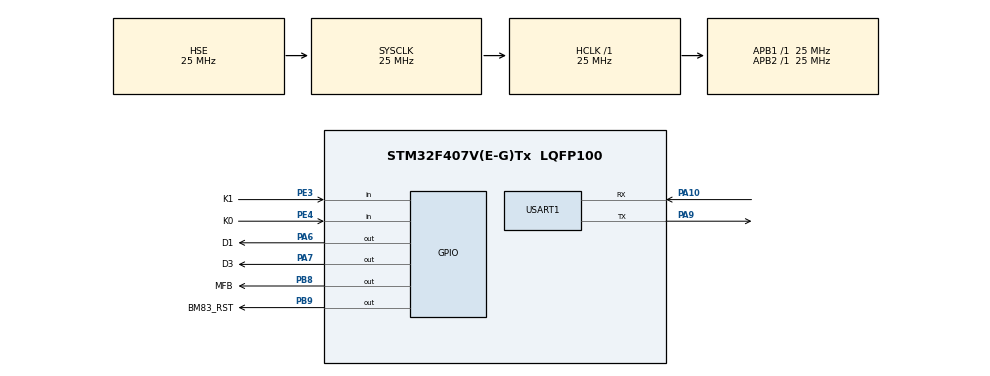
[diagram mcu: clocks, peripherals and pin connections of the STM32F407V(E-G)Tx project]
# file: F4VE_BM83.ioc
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Mcu.Family=STM32F4
Mcu.Name=STM32F407V(E-G)Tx
Mcu.Package=LQFP100
NVIC.PriorityGroup=NVIC_PRIORITYGROUP_4
NVIC.USART1_IRQn=true\:0\:0\:false\:false\:true\:true\:true\:true
PA10.Mode=Asynchronous
PA10.Signal=USART1_RX
PA13.Mode=JTAG_5_pins
PA13.Signal=SYS_JTMS-SWDIO
PA14.Mode=JTAG_5_pins
PA14.Signal=SYS_JTCK-SWCLK
PA15.Mode=JTAG_5_pins
PA15.Signal=SYS_JTDI
PA6.GPIO_Label=D1
PA6.Signal=GPIO_Output
PA7.GPIO_Label=D3
PA7.Signal=GPIO_Output
PA9.Mode=Asynchronous
PA9.Signal=USART1_TX
PB3.Mode=JTAG_5_pins
PB3.Signal=SYS_JTDO-SWO
PB4.Mode=JTAG_5_pins
PB4.Signal=SYS_JTRST
PB8.GPIO_Label=MFB
PB8.Signal=GPIO_Output
PB9.GPIO_Label=BM83_RST
PB9.Signal=GPIO_Output
PC14-OSC32_IN.Mode=LSE-External-Oscillator
PC14-OSC32_IN.Signal=RCC_OSC32_IN
PC15-OSC32_OUT.Mode=LSE-External-Oscillator
PC15-OSC32_OUT.Signal=RCC_OSC32_OUT
PE3.GPIO_Label=K1
PE3.Signal=GPIO_Input
PE4.GPIO_Label=K0
PE4.Signal=GPIO_Input
PH0-OSC_IN.Mode=HSE-External-Oscillator
PH0-OSC_IN.Signal=RCC_OSC_IN
PH1-OSC_OUT.Mode=HSE-External-Oscillator
PH1-OSC_OUT.Signal=RCC_OSC_OUT
ProjectManager.HeapSize=0x200
ProjectManager.StackSize=0x400
ProjectManager.TargetToolchain=Makefile
RCC.48MHZClocksFreq_Value=75000000
RCC.AHBFreq_Value=25000000
RCC.APB1Freq_Value=25000000
RCC.APB1TimFreq_Value=25000000
RCC.APB2Freq_Value=25000000
RCC.APB2TimFreq_Value=25000000
RCC.CortexFreq_Value=25000000
RCC.HCLKFreq_Value=25000000
RCC.HSE_VALUE=25000000
RCC.HSI_VALUE=16000000
RCC.PLLSourceVirtual=RCC_PLLSOURCE_HSE
RCC.SYSCLKFreq_VALUE=25000000
RCC.SYSCLKSource=RCC_SYSCLKSOURCE_HSE
RCC.VCOOutputFreq_Value=300000000
USART1.VirtualMode=VM_ASYNC
board=custom

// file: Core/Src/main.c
/* USER CODE BEGIN Header */
/**
  ******************************************************************************
  * @file           : main.c
  * @brief          : Main program body
  ******************************************************************************
  * @attention
  *
  * Copyright (c) 2024 STMicroelectronics.
  * All rights reserved.
  *
  * This software is licensed under terms that can be found in the LICENSE file
  * in the root directory of this software component.
  * If no LICENSE file comes with this software, it is provided AS-IS.
  *
  ******************************************************************************
  */
/* USER CODE END Header */
#include "main.h"
#include "usart.h"
#include "gpio.h"
#include "bm832.h"
#include <string.h>

void SystemClock_Config(void);

/* USER CODE BEGIN 0 */
static err_t BM83_event_handler ( BM83_t *dev );
static BM83_t BM83;
static log_t logger;

void application_init ( void )
{

    /**
     * Logger initialization.
     * Default baud rate: 115200
     * Default log level: LOG_LEVEL_DEBUG
     * @note If USB_UART_RX and USB_UART_TX
     * are defined as HAL_PIN_NC, you will
     * need to define them manually for log to work.
     * See @b LOG_MAP_USB_UART macro definition for detailed explanation.
     */

    // Click initialization.
    BM83_Initialise( &BM83 );

     if ( BM83_OK != BM83_set_device_name ( &BM83, DEVICE_NAME ) ){

     }

}

void application_task ( void )
{
    if ( BM83_OK == BM83_read_event ( &BM83 ) )
    {
        BM83_event_handler ( &BM83 );
    }
}
/* USER CODE END 0 */

int main(void)
{

  /* USER CODE BEGIN 1 */
  application_init( );

    for ( ; ; )
    {
        application_task( );
    }

    return 0;
  /* USER CODE END 1 */

  /* MCU Configuration--------------------------------------------------------*/

  /* Reset of all peripherals, Initializes the Flash interface and the Systick. */
  HAL_Init();

  /* Configure the system clock */
  SystemClock_Config();

  /* Initialize all configured peripherals */
  MX_GPIO_Init();
  MX_USART1_UART_Init();

  /* Infinite loop */
  while (1)
  {

  }
}

void SystemClock_Config(void)
{
  RCC_OscInitTypeDef RCC_OscInitStruct = {0};
  RCC_ClkInitTypeDef RCC_ClkInitStruct = {0};

  /** Configure the main internal regulator output voltage
  */
  __HAL_RCC_PWR_CLK_ENABLE();
  __HAL_PWR_VOLTAGESCALING_CONFIG(PWR_REGULATOR_VOLTAGE_SCALE1);

  /** Initializes the RCC Oscillators according to the specified parameters
  * in the RCC_OscInitTypeDef structure.
  */
  RCC_OscInitStruct.OscillatorType = RCC_OSCILLATORTYPE_HSE;
  RCC_OscInitStruct.HSEState = RCC_HSE_ON;
  RCC_OscInitStruct.PLL.PLLState = RCC_PLL_NONE;
  if (HAL_RCC_OscConfig(&RCC_OscInitStruct) != HAL_OK)
  {
    Error_Handler();
  }

  /** Initializes the CPU, AHB and APB buses clocks
  */
  RCC_ClkInitStruct.ClockType = RCC_CLOCKTYPE_HCLK|RCC_CLOCKTYPE_SYSCLK
                              |RCC_CLOCKTYPE_PCLK1|RCC_CLOCKTYPE_PCLK2;
  RCC_ClkInitStruct.SYSCLKSource = RCC_SYSCLKSOURCE_HSE;
  RCC_ClkInitStruct.AHBCLKDivider = RCC_SYSCLK_DIV1;
  RCC_ClkInitStruct.APB1CLKDivider = RCC_HCLK_DIV1;
  RCC_ClkInitStruct.APB2CLKDivider = RCC_HCLK_DIV1;

  if (HAL_RCC_ClockConfig(&RCC_ClkInitStruct, FLASH_LATENCY_0) != HAL_OK)
  {
    Error_Handler();
  }
}

/* USER CODE BEGIN 4 */
static err_t BM83_event_handler ( BM83_t *dev )
{
    err_t error_flag = BM83_OK;
    static BM83_eq_mode_t eq_mode = BM83_EQ_MODE_OFF;
    switch ( dev->event_packet.opcode )
    {
        case BM83_EVT_REPORT_SPP_DATA:
        {
            if ( 0 == dev->event_packet.param_buf[ 1 ] ) // single packet
            {
                uint16_t payload_len = ( ( uint16_t ) dev->event_packet.param_buf[ 4 ] << 8 ) |
                                                      dev->event_packet.param_buf[ 5 ];
                if ( strstr ( &dev->event_packet.param_buf[ 6 ], COMMAND_PLAY ) )
                {
                    error_flag |= BM83_music_control ( &BM83, BM83_PLAY );

                }
                else if ( strstr ( &dev->event_packet.param_buf[ 6 ], COMMAND_PAUSE ) )
                {
                    error_flag |= BM83_music_control ( &BM83, BM83_PAUSE );

                }
                else if ( strstr ( &dev->event_packet.param_buf[ 6 ], COMMAND_STOP ) )
                {
                    error_flag |= BM83_music_control ( &BM83, BM83_STOP );

                }
                else if ( strstr ( &dev->event_packet.param_buf[ 6 ], COMMAND_NEXT ) )
                {
                    error_flag |= BM83_music_control ( &BM83, BM83_NEXT_SONG );

                }
                else if ( strstr ( &dev->event_packet.param_buf[ 6 ], COMMAND_PREVIOUS ) )
                {
                    error_flag |= BM83_music_control ( &BM83, BM83_PREVIOUS_SONG );

                }
                else if ( strstr ( &dev->event_packet.param_buf[ 6 ], COMMAND_VOLUME_UP ) )
                {
                    error_flag |= BM83_volume_up ( &BM83, 0, BM83_VOLUME_MASK_A2DP );

                }
                else if ( strstr ( &dev->event_packet.param_buf[ 6 ], COMMAND_VOLUME_DOWN ) )
                {
                    error_flag |= BM83_volume_down ( &BM83, 0, BM83_VOLUME_MASK_A2DP );

                }
                else if ( strstr ( &dev->event_packet.param_buf[ 6 ], COMMAND_UNMUTE ) )
                {
                    BM83_soft_unmute_output ( &BM83 );

                }
                else if ( strstr ( &dev->event_packet.param_buf[ 6 ], COMMAND_MUTE ) )
                {
                    BM83_soft_mute_output ( &BM83 );

                }
                else if ( strstr ( &dev->event_packet.param_buf[ 6 ], COMMAND_CALL ) )
                {
                    uint8_t phone_number[ 19 ] = { 0 };
                    memcpy ( phone_number, strstr ( &dev->event_packet.param_buf[ 6 ], COMMAND_CALL ) + 5, payload_len - 7 );
                    error_flag |= BM83_make_call ( &BM83, 0x00, phone_number );

                }
                else if ( strstr ( &dev->event_packet.param_buf[ 6 ], COMMAND_VOICE ) )
                {
                    error_flag |= BM83_send_mmi_action ( dev, 0, BM83_MMI_VOICE_DIAL );

                }
                else if ( strstr ( &dev->event_packet.param_buf[ 6 ], COMMAND_MODE_UP ) )
                {
                    if ( BM83_EQ_MODE_USER1 == eq_mode )
                    {
                        eq_mode = BM83_EQ_MODE_OFF;
                    }
                    else
                    {
                        eq_mode++;
                    }
                    BM83_set_eq_mode ( &BM83, eq_mode );

                    switch ( eq_mode )
                    {
                        case BM83_EQ_MODE_OFF:
                        {

                            break;
                        }
                        case BM83_EQ_MODE_SOFT:
                        {

                            break;
                        }
                        case BM83_EQ_MODE_BASS:
                        {

                            break;
                        }
                        case BM83_EQ_MODE_TREBLE:
                        {

                            break;
                        }
                        case BM83_EQ_MODE_CLASSIC:
                        {

                            break;
                        }
                        case BM83_EQ_MODE_ROCK:
                        {

                            break;
                        }
                        case BM83_EQ_MODE_JAZZ:
                        {

                            break;
                        }
                        case BM83_EQ_MODE_POP:
                        {
                            printf( &logger, "pop\r\n\n" );
                            break;
                        }
                        case BM83_EQ_MODE_DANCE:
                        {
                            printf( &logger, "dance\r\n\n" );
                            break;
                        }
                        case BM83_EQ_MODE_RNB:
                        {
                            printf( &logger, "rnb\r\n\n" );
                            break;
                        }
                        case BM83_EQ_MODE_USER1:
                        {
                            printf( &logger, "user1\r\n\n" );
                            break;
                        }
                        default:
                        {
                            printf( &logger, "unknown\r\n\n" );
                            break;
                        }
                    }
                }
                else
                {
                    printf( &logger, " Unknown command: ", &dev->event_packet.param_buf[ 6 ] );
                    for ( uint16_t cnt = 0; cnt < payload_len; cnt++ )
                    {
                        printf( &logger, "%c", dev->event_packet.param_buf[ cnt + 6 ] );
                    }
                    printf( &logger, "\r\n\n" );
                }
            }
            break;
        }
        case BM83_EVT_BTM_STATE:
        {
            switch ( dev->event_packet.param_buf[ 0 ] )
            {
                case BM83_BTM_STATE_PAIRING_SUCCESSFULL:
                {
                    printf( &logger, " < Pairing successfull - linked device ID: %u\r\n\n",
                                ( uint16_t ) dev->event_packet.param_buf[ 1 ] );
                    break;
                }
                case BM83_BTM_STATE_SCO_LINK_CONNECTED:
                {
                    printf( &logger, " < SCO link connected - linked device ID: %u\r\n\n",
                                ( uint16_t ) dev->event_packet.param_buf[ 1 ] );
                    break;
                }
                case BM83_BTM_STATE_SCO_LINK_DISCONNECTED:
                {
                    printf( &logger, " < SCO link disconnected - linked device ID: %u\r\n\n",
                                ( uint16_t ) dev->event_packet.param_buf[ 1 ] );
                    break;
                }
                case BM83_BTM_STATE_ACL_CONNECTED:
                {
                    printf( &logger, " < ACL connected - linked data base: %u\r\n\n",
                                ( uint16_t ) dev->event_packet.param_buf[ 1 ] );
                    break;
                }
                case BM83_BTM_STATE_ACL_DISCONNECTED:
                {
                    printf( &logger, " < ACL disconnected - " );
                    if ( 0 == dev->event_packet.param_buf[ 1 ] )
                    {
                        printf( &logger, "disconnection\r\n\n" );
                    }
                    else if ( 1 == dev->event_packet.param_buf[ 1 ] )
                    {
                        printf( &logger, "link loss\r\n\n" );
                    }
                    break;
                }
                case BM83_BTM_STATE_STANDBY_STATE:
                {
                    printf( &logger, " < Standby state\r\n\n" );
                    printf( &logger, " > ReEnter pairing mode\r\n\n" );
                    error_flag |= BM83_enter_pairing_mode ( &BM83 );
                    break;
                }
                case BM83_BTM_STATE_UNKNOWN_AUDIO_SOURCE:
                {
                    printf( &logger, " < Unknown audio source\r\n\n" );
                    break;
                }
                case BM83_BTM_STATE_AUX_IN_AUDIO_SOURCE:
                {
                    printf( &logger, " < AUX-IN audio source\r\n\n" );
                    break;
                }
                case BM83_BTM_STATE_A2DP_AUDIO_SOURCE:
                {
                    printf( &logger, " < A2DP audio source\r\n\n" );
                    break;
                }
                default:
                {
                    printf( &logger, " < EVENT BTM STATE: " );
                    for ( uint16_t cnt = 0; cnt < dev->event_packet.param_len; cnt++ )
                    {
                        printf( &logger, "0x%.2X ", ( uint16_t ) dev->event_packet.param_buf[ cnt ] );
                    }
                    printf( &logger, "\r\n\n" );
                    break;
                }
            }
            break;
        }
        default:
        {
            printf( &logger, " < EVENT 0x%.2X: ", ( uint16_t ) dev->event_packet.opcode );
            for ( uint16_t cnt = 0; cnt < dev->event_packet.param_len; cnt++ )
            {
                printf( &logger, "0x%.2X ", ( uint16_t ) dev->event_packet.param_buf[ cnt ] );
            }
            printf( &logger, "\r\n\n" );
            break;
        }
    }
    return error_flag;
}

/* USER CODE END 4 */

void Error_Handler(void)
{
  __disable_irq();
  while (1)
  {
  }
}
